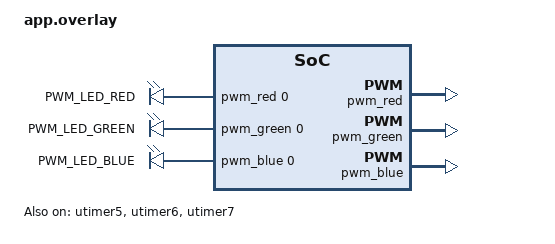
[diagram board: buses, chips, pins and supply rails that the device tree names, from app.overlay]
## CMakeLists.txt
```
# Copyright (c) 2026 Samuel (Shu-Ming) Liu
# SPDX-License-Identifier: Apache-2.0

cmake_minimum_required(VERSION 3.20.0)

find_package(Zephyr REQUIRED HINTS $ENV{ZEPHYR_BASE})
project(06_timer_pwm)

target_sources(app PRIVATE src/main.c)
```

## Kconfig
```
# SPDX-License-Identifier: Apache-2.0

mainmenu "Example 06: Alif Ensemble E8 - Universal Timer PWM & RGB Color Breathing"

config HAS_SEGGER_RTT
	default y

source "Kconfig.zephyr"
```

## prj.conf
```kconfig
# Real-Time Transfer (SEGGER RTT) Console Configuration
CONFIG_PRINTK=y
CONFIG_SERIAL=y
CONFIG_CONSOLE=y
CONFIG_USE_SEGGER_RTT=y
CONFIG_RTT_CONSOLE=y
CONFIG_UART_CONSOLE=n
CONFIG_STDOUT_CONSOLE=y

# SEGGER RTT Interactive Down-Buffer for Keyboard Inputs
CONFIG_SEGGER_RTT_BUFFER_SIZE_DOWN=64
CONFIG_SEGGER_RTT_BUFFER_SIZE_UP=2048

# Hardware Universal Timer (UTIMER) & PWM Driver
CONFIG_PWM=y

# Disable Unused NPU for pure timer/PWM application
CONFIG_ARM_ETHOS_U=n

# Stack & Heap
CONFIG_MAIN_STACK_SIZE=4096
CONFIG_SYSTEM_WORKQUEUE_STACK_SIZE=2048
```

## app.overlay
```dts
/*
 * Copyright (c) 2026 Samuel (Shu-Ming) Liu
 * SPDX-License-Identifier: Apache-2.0
 *
 * Devicetree overlay for Example 06: Hardware UTIMER PWM & RGB LED Breathing
 * Alif Ensemble E8 Development Kit (AE822FA0E5597LS0)
 *
 * Hardware Mapping:
 * - Red LED   (LED1_R, P6_2) -> UTIMER5 Channel 0 (T0) via pwm5
 * - Green LED (LED1_G, P6_4) -> UTIMER6 Channel 0 (T0) via pwm6
 * - Blue LED  (LED1_B, P6_6) -> UTIMER7 Channel 0 (T0) via pwm7
 */

#include <zephyr/dt-bindings/pwm/pwm.h>

/ {
	aliases {
		pwm-led-red   = &pwm_led_red;
		pwm-led-green = &pwm_led_green;
		pwm-led-blue  = &pwm_led_blue;
	};

	pwmleds {
		compatible = "pwm-leds";

		pwm_led_red: pwm_led_0 {
			pwms = <&pwm_red 0 PWM_MSEC(20) PWM_POLARITY_NORMAL>;
			label = "PWM_LED_RED";
		};

		pwm_led_green: pwm_led_1 {
			pwms = <&pwm_green 0 PWM_MSEC(20) PWM_POLARITY_NORMAL>;
			label = "PWM_LED_GREEN";
		};

		pwm_led_blue: pwm_led_2 {
			pwms = <&pwm_blue 0 PWM_MSEC(20) PWM_POLARITY_NORMAL>;
			label = "PWM_LED_BLUE";
		};
	};
};

/* Disable GPIO mapping on LED1_R to grant exclusive control to UTIMER5 */
&aled0 {
	status = "disabled";
};

/* Enable Universal Timer 5 and label its child node pwm5 */
&utimer5 {
	status = "okay";

	pwm_red: pwm5 {
		status = "okay";
	};
};

/* Enable Universal Timer 6 and label its child node pwm6 */
&utimer6 {
	status = "okay";

	pwm_green: pwm6 {
		status = "okay";
	};
};

/* Enable Universal Timer 7 and label its child node pwm7 */
&utimer7 {
	status = "okay";

	pwm_blue: pwm7 {
		status = "okay";
	};
};
```

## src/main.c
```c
/*
 * Copyright (c) 2026 Samuel (Shu-Ming) Liu
 * SPDX-License-Identifier: Apache-2.0
 *
 * Example 06: Alif Ensemble E8 - Universal Timer (UTIMER) Hardware PWM & RGB LED Breathing
 *
 * Demonstrates high-resolution multi-channel hardware PWM using Alif Ensemble's
 * on-chip 32-bit Universal Timers (UTIMER 5, 6, 7):
 * - Red LED   (LED1_R, P6_2) -> UTIMER5 Channel 0 (T0) via pwm5
 * - Green LED (LED1_G, P6_4) -> UTIMER6 Channel 0 (T0) via pwm6
 * - Blue LED  (LED1_B, P6_6) -> UTIMER7 Channel 0 (T0) via pwm7
 *
 * Features:
 * 1. Zero CPU-load hardware PWM pulse generation with 20ms (50Hz) or 1ms (1kHz) base period.
 * 2. Perceptual Gamma-corrected smooth breathing curves (sine/quadratic).
 * 3. 360-degree HSV Color Wheel smooth transitions.
 * 4. Real-time telemetry and interactive control via SEGGER RTT Viewer.
 */

#include <stdio.h>
#include <stdint.h>
#include <stdbool.h>
#include <zephyr/kernel.h>
#include <zephyr/device.h>
#include <zephyr/drivers/pwm.h>
#include <SEGGER_RTT.h>

/* PWM Device Tree Specifications from app.overlay */
static const struct pwm_dt_spec pwm_r = PWM_DT_SPEC_GET(DT_ALIAS(pwm_led_red));
static const struct pwm_dt_spec pwm_g = PWM_DT_SPEC_GET(DT_ALIAS(pwm_led_green));
static const struct pwm_dt_spec pwm_b = PWM_DT_SPEC_GET(DT_ALIAS(pwm_led_blue));

/* PWM Period: 20 ms (50 Hz standard servo/LED PWM frequency) */
#define PWM_PERIOD_DEFAULT_NS  PWM_MSEC(20)

/* Animation Modes */
enum anim_mode {
	MODE_RAINBOW = 0,    /* HSV 360-degree smooth color wheel */
	MODE_BREATHE_SYNC,   /* Synchronous breathing across all channels */
	MODE_BREATHE_CHASE,  /* 120-degree phase-shifted RGB breathing */
	MODE_STATIC_COLOR,   /* Fixed manual color output */
	MODE_MAX
};

static const char *mode_names[] = {
	"HSV Rainbow Color Wheel",
	"Synchronous White Breathing",
	"Phase-Shifted RGB Chase Breathing",
	"Static Color Hold"
};

/* Gamma correction table (quadratic scaling for human eye perception) */
static inline uint32_t apply_gamma(uint32_t val, uint32_t max)
{
	if (max == 0) return 0;
	return (val * val) / max;
}

/* Helper to convert Hue (0..359) to RGB (0..255) */
static void hsv_to_rgb(uint16_t h, uint8_t s, uint8_t v, uint8_t *r, uint8_t *g, uint8_t *b)
{
	if (s == 0) {
		*r = *g = *b = v;
		return;
	}

	h = h % 360;
	uint8_t region = h / 60;
	uint16_t remainder = (h - (region * 60)) * 6;

	uint8_t p = (v * (255 - s)) >> 8;
	uint8_t q = (v * (255 - ((s * remainder) >> 8))) >> 8;
	uint8_t t = (v * (255 - ((s * (1530 - remainder)) >> 8))) >> 8;

	switch (region) {
	case 0:  *r = v; *g = t; *b = p; break;
	case 1:  *r = q; *g = v; *b = p; break;
	case 2:  *r = p; *g = v; *b = t; break;
	case 3:  *r = p; *g = q; *b = v; break;
	case 4:  *r = t; *g = p; *b = v; break;
	default: *r = v; *g = p; *b = q; break;
	}
}

/* Set RGB PWM pulse widths based on 0..1000 per-mille (0.1% resolution) */
static int set_rgb_permille(uint32_t r_pm, uint32_t g_pm, uint32_t b_pm, uint32_t period_ns)
{
	int ret;

	if (r_pm > 1000) r_pm = 1000;
	if (g_pm > 1000) g_pm = 1000;
	if (b_pm > 1000) b_pm = 1000;

	/* Calculate pulse width with gamma correction */
	uint32_t pulse_r = (apply_gamma(r_pm, 1000) * period_ns) / 1000;
	uint32_t pulse_g = (apply_gamma(g_pm, 1000) * period_ns) / 1000;
	uint32_t pulse_b = (apply_gamma(b_pm, 1000) * period_ns) / 1000;

	ret = pwm_set_pulse_dt(&pwm_r, pulse_r);
	if (ret < 0) return ret;

	ret = pwm_set_pulse_dt(&pwm_g, pulse_g);
	if (ret < 0) return ret;

	ret = pwm_set_pulse_dt(&pwm_b, pulse_b);
	if (ret < 0) return ret;

	return 0;
}

static void print_banner(void)
{
	printf("\n\n===============================================================\n");
	printf("🌈  Alif Ensemble E8 - Hardware UTIMER PWM Color Engine 🌈\n");
	printf(" Target Core : ARM Cortex-M55 (RTSS-HP)\n");
	printf(" Controllers : UTIMER5 (Ch0: Red), UTIMER6 (Ch0: Green), UTIMER7 (Ch0: Blue)\n");
	printf(" Resolution  : 32-bit Hardware Counter, 20ms (50Hz) Base Period\n");
	printf(" Console     : SEGGER RTT Real-Time Monitor\n");
	printf("===============================================================\n\n");
	printf("🎮 Interactive Commands (Type in RTT Viewer Input Bar):\n");
	printf("  [m] Next Animation Mode (Rainbow -> Sync -> Chase -> Static)\n");
	printf("  [+] Increase Animation Speed\n");
	printf("  [-] Decrease Animation Speed\n");
	printf("  [p] Pause / Resume Animation\n");
	printf("  [r] Static RED        [g] Static GREEN     [b] Static BLUE\n");
	printf("  [c] Static CYAN       [m] Static MAGENTA   [y] Static YELLOW\n");
	printf("  [w] Static WHITE      [o] Turn OFF (0%%)\n");
	printf("  [h] Print Help Menu\n");
	printf("---------------------------------------------------------------\n\n");
}

int main(void)
{
	int ret;
	uint32_t period_ns = pwm_r.period ? pwm_r.period : PWM_PERIOD_DEFAULT_NS;
	enum anim_mode mode = MODE_RAINBOW;
	bool paused = false;
	uint32_t step_delay_ms = 25;  /* Animation refresh rate: ~40 FPS */

	/* Animation state variables */
	uint16_t hue = 0;
	uint32_t breathe_counter = 0;
	bool breathe_up = true;
	uint32_t r_val = 0, g_val = 0, b_val = 0;
	uint32_t last_log_time = 0;

	print_banner();

	/* 1. Verify PWM Device Readiness */
	printf("[PWM-INIT] Checking Hardware PWM Devices...\n");

	if (!pwm_is_ready_dt(&pwm_r)) {
		printf("[ERROR] PWM device for RED LED (UTIMER5) is not ready!\n");
		return -ENODEV;
	}
	printf("  ✔ RED LED   : UTIMER5 Ch0 (P6_2) Ready (Period: %u ns)\n", pwm_r.period);

	if (!pwm_is_ready_dt(&pwm_g)) {
		printf("[ERROR] PWM device for GREEN LED (UTIMER6) is not ready!\n");
		return -ENODEV;
	}
	printf("  ✔ GREEN LED : UTIMER6 Ch0 (P6_4) Ready (Period: %u ns)\n", pwm_g.period);

	if (!pwm_is_ready_dt(&pwm_b)) {
		printf("[ERROR] PWM device for BLUE LED (UTIMER7) is not ready!\n");
		return -ENODEV;
	}
	printf("  ✔ BLUE LED  : UTIMER7 Ch0 (P6_6) Ready (Period: %u ns)\n", pwm_b.period);

	printf("[PWM-INIT] All 3 Hardware Universal Timers Online & Locked!\n\n");

	/* Initial startup sequence: Quick 3-color test pulse */
	set_rgb_permille(1000, 0, 0, period_ns); k_msleep(200);
	set_rgb_permille(0, 1000, 0, period_ns); k_msleep(200);
	set_rgb_permille(0, 0, 1000, period_ns); k_msleep(200);
	set_rgb_permille(0, 0, 0, period_ns);    k_msleep(200);

	printf("[PWM-RUN] Starting Active Animation: %s\n\n", mode_names[mode]);

	/* Main Animation & Telemetry Loop */
	while (1) {
		/* Handle Interactive Keyboard Commands from RTT Viewer */
		if (SEGGER_RTT_HasKey()) {
			int ch = SEGGER_RTT_GetKey();
			switch (ch) {
			case 'm':
			case 'M':
				mode = (mode + 1) % MODE_MAX;
				printf("\n>>> Switched to Mode [%u]: %s <<<\n", mode, mode_names[mode]);
				break;
			case '+':
			case '=':
				if (step_delay_ms > 5) step_delay_ms -= 5;
				printf(">>> Speed Up: Step delay = %u ms (~%u FPS) <<<\n",
				       step_delay_ms, 1000 / step_delay_ms);
				break;
			case '-':
			case '_':
				if (step_delay_ms < 200) step_delay_ms += 5;
				printf(">>> Slow Down: Step delay = %u ms (~%u FPS) <<<\n",
				       step_delay_ms, 1000 / step_delay_ms);
				break;
			case 'p':
			case 'P':
			case ' ':
				paused = !paused;
				printf(">>> Animation %s <<<\n", paused ? "PAUSED" : "RESUMED");
				break;
			case 'r': case 'R':
				mode = MODE_STATIC_COLOR; r_val = 1000; g_val = 0; b_val = 0;
				printf(">>> Static Color: RED <<<\n");
				break;
			case 'g': case 'G':
				mode = MODE_STATIC_COLOR; r_val = 0; g_val = 1000; b_val = 0;
				printf(">>> Static Color: GREEN <<<\n");
				break;
			case 'b': case 'B':
				mode = MODE_STATIC_COLOR; r_val = 0; g_val = 0; b_val = 1000;
				printf(">>> Static Color: BLUE <<<\n");
				break;
			case 'c': case 'C':
				mode = MODE_STATIC_COLOR; r_val = 0; g_val = 1000; b_val = 1000;
				printf(">>> Static Color: CYAN <<<\n");
				break;
			case 'y': case 'Y':
				mode = MODE_STATIC_COLOR; r_val = 1000; g_val = 1000; b_val = 0;
				printf(">>> Static Color: YELLOW <<<\n");
				break;
			case 'w': case 'W':
				mode = MODE_STATIC_COLOR; r_val = 1000; g_val = 1000; b_val = 1000;
				printf(">>> Static Color: WHITE <<<\n");
				break;
			case 'o': case 'O':
				mode = MODE_STATIC_COLOR; r_val = 0; g_val = 0; b_val = 0;
				printf(">>> LEDs OFF (0%%) <<<\n");
				break;
			case 'h': case 'H':
			case '?':
				print_banner();
				break;
			default:
				break;
			}
		}

		/* Compute Animation Frame if not paused */
		if (!paused) {
			switch (mode) {
			case MODE_RAINBOW: {
				uint8_t r8, g8, b8;
				hsv_to_rgb(hue, 255, 255, &r8, &g8, &b8);
				r_val = (r8 * 1000) / 255;
				g_val = (g8 * 1000) / 255;
				b_val = (b8 * 1000) / 255;

				hue = (hue + 1) % 360;
				break;
			}
			case MODE_BREATHE_SYNC: {
				if (breathe_up) {
					breathe_counter += 10;
					if (breathe_counter >= 1000) {
						breathe_counter = 1000;
						breathe_up = false;
					}
				} else {
					if (breathe_counter <= 10) {
						breathe_counter = 0;
						breathe_up = true;
					} else {
						breathe_counter -= 10;
					}
				}
				r_val = g_val = b_val = breathe_counter;
				break;
			}
			case MODE_BREATHE_CHASE: {
				/* Triangular chase breathing with 120-degree phase shift */
				static uint32_t phase = 0;
				phase = (phase + 1) % 300;

				int r_p = (int)phase;
				int g_p = (int)((phase + 100) % 300);
				int b_p = (int)((phase + 200) % 300);

				r_val = (r_p < 150) ? (r_p * 1000 / 150) : ((300 - r_p) * 1000 / 150);
				g_val = (g_p < 150) ? (g_p * 1000 / 150) : ((300 - g_p) * 1000 / 150);
				b_val = (b_p < 150) ? (b_p * 1000 / 150) : ((300 - b_p) * 1000 / 150);
				break;
			}
			case MODE_STATIC_COLOR:
			default:
				/* Maintain current static values */
				break;
			}

			/* Apply to Hardware Universal Timers */
			ret = set_rgb_permille(r_val, g_val, b_val, period_ns);
			if (ret < 0) {
				printf("[WARN] Failed to set PWM duty: %d\n", ret);
			}
		}

		/* Periodic Telemetry Stream every ~2000 ms */
		uint32_t now = k_uptime_get_32();
		if (now - last_log_time >= 2000) {
			last_log_time = now;
			printf("📊 [UTIMER PWM] Mode: %-25s | Duty R:%3u%% G:%3u%% B:%3u%% | Delay: %ums\n",
			       mode_names[mode],
			       r_val / 10, g_val / 10, b_val / 10,
			       step_delay_ms);
		}

		k_msleep(step_delay_ms);
	}

	return 0;
}
```
